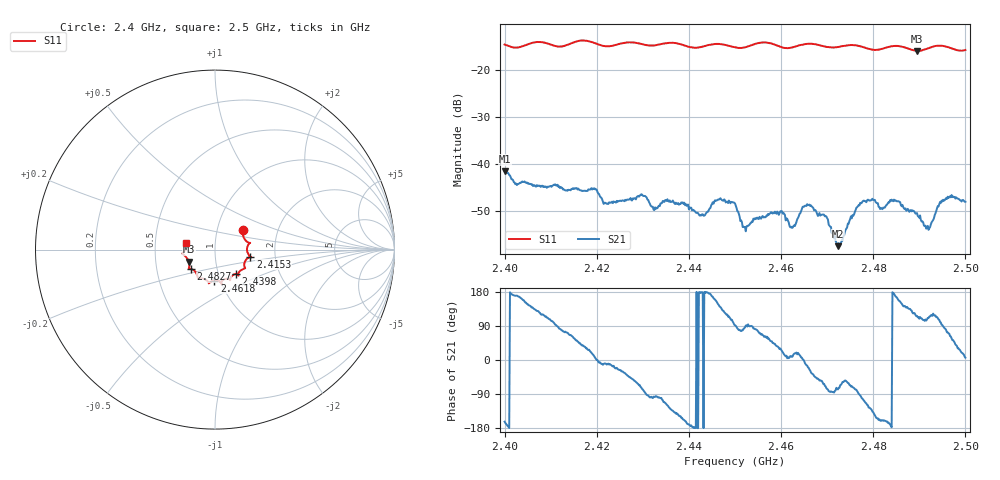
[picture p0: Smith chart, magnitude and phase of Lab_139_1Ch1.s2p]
# Hz S RI R 50
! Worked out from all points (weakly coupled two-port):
!   601 points, 2.4 GHz to 2.5 GHz, reference 50 ohm
!   highest |S21| = -41.46 dB at 2.4 GHz (marker M1); lowest = -57.4 dB at 2.4723 GHz (marker M2)
!   lowest |S11| = -15.9 dB at 2.4895 GHz (marker M3), VSWR 1.38, Z = 37 - j5.05 ohm
!   |S11| at or under -10 dB: start of sweep to end of sweep
!   S12 and S22 are empty: the file has one direction only
!   S11 on the Smith chart (normalised r, x): 2.4 GHz: 1.33, +0.29; 2.4153 GHz: 1.48, -0.12; 2.4398 GHz: 1.21, -0.34; 2.4618 GHz: 0.94, -0.33; 2.4827 GHz: 0.75, -0.17; 2.5 GHz: 0.72, +0.06
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2.4e9  0.1544 0.1068  -0.00807 -0.0025  0 0  0 0
2.402667e9  0.1616 0.0641  -0.00593 0.00105  0 0  0 0
2.415333e9  0.1966 -0.0391  0.00322 0.00448  0 0  0 0
2.416667e9  0.2024 -0.043  0.00401 0.00343  0 0  0 0
2.433333e9  0.1297 -0.1341  -0.000563 -0.00351  0 0  0 0
2.439833e9  0.1151 -0.1359  -0.00367 -0.000681  0 0  0 0
2.442833e9  0.0896 -0.1531  -0.00294 3.84e-05  0 0  0 0
2.446333e9  0.0846 -0.1706  -0.00354 0.0023  0 0  0 0
2.45e9  0.0651 -0.1624  -0.00011 0.00384  0 0  0 0
2.452167e9  0.0431 -0.1698  0.000146 0.00216  0 0  0 0
2.458333e9  0.0352 -0.1859  0.00218 0.00215  0 0  0 0
2.461833e9  -0.00342 -0.1724  0.0022 0.000265  0 0  0 0
2.466667e9  -0.0345 -0.1878  0.0029 -0.00206  0 0  0 0
2.469667e9  -0.0448 -0.1723  0.000979 -0.00264  0 0  0 0
2.472333e9  -0.0738 -0.1602  0.000286 -0.00132  0 0  0 0
2.4775e9  -0.0976 -0.1491  -0.000709 -0.00383  0 0  0 0
2.482667e9  -0.1348 -0.1086  -0.00337 -0.00117  0 0  0 0
2.483333e9  -0.1398 -0.1085  -0.00382 -0.00101  0 0  0 0
2.4895e9  -0.1461 -0.0666  -0.00134 0.00271  0 0  0 0
2.492e9  -0.1682 -0.0344  -0.000717 0.00188  0 0  0 0
2.495333e9  -0.1795 -0.0184  0.000269 0.0041  0 0  0 0
2.5e9  -0.1594 0.0391  0.00397 0.000425  0 0  0 0
